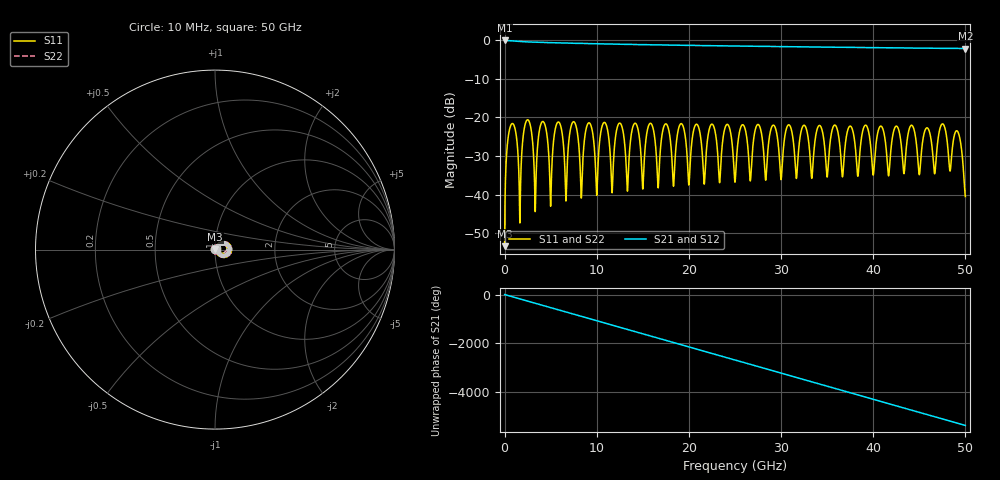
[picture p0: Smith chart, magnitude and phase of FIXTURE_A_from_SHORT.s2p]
! Fixture A extrait de SHORT (modele a une discontinuite, afr/reflect.py) - Fixture A synthetique : ligne Zc=55.0 ohm, delai=300 ps, pertes 1.0 dB @10 GHz (~sqrt(f)), eps_r_eff=3.0 -> 51.93 mm, Z0=50 ohm
! Frequency(Hz) S11 S21 S12 S22 (Re Im)
# Hz S RI R 50
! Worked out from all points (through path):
!   5000 points, 10 MHz to 50 GHz, reference 50 ohm
!   highest |S21| = -0.17 dB at 10 MHz (marker M1); lowest = -2.3 dB at 50 GHz (marker M2)
!   group delay of S21, straight-line fit = 300 ps
!   lowest |S11| = -53.3 dB at 10 MHz (marker M3), VSWR 1.00, Z = 50.2 + j0.149 ohm
!   |S11| at or under -10 dB: start of sweep to end of sweep
!   |S22| runs from -53.3 to -20.7 dB; largest |S21 - S12| = 0
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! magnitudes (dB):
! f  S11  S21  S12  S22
! 10 MHz  -53.3  -0.2  -0.2  -53.3
! 810 MHz  -21.7  -0.3  -0.3  -21.7
! 1.65 GHz  -45.9  -0.4  -0.4  -45.9
! 2.5 GHz  -20.7  -0.5  -0.5  -20.7
! 3.32 GHz  -43.9  -0.6  -0.6  -43.9
! 4.15 GHz  -21.1  -0.7  -0.7  -21.1
! 4.98 GHz  -42.2  -0.7  -0.7  -42.2
! 5.83 GHz  -21.2  -0.8  -0.8  -21.2
! 8.35 GHz  -40.5  -0.9  -0.9  -40.5
! 9.16 GHz  -21.4  -1.0  -1.0  -21.4
! 9.99 GHz  -40.1  -1.0  -1.0  -40.1
! 10.83 GHz  -21.3  -1.1  -1.1  -21.3
! 11.65 GHz  -39.3  -1.1  -1.1  -39.3
! 12.49 GHz  -21.5  -1.2  -1.2  -21.5
! 16.68 GHz  -38.1  -1.3  -1.3  -38.1
! 17.5 GHz  -21.7  -1.4  -1.4  -21.7
! 25.01 GHz  -36.8  -1.6  -1.6  -36.8
! 25.83 GHz  -21.9  -1.6  -1.6  -21.9
! 33.34 GHz  -35.8  -1.8  -1.8  -35.8
! 41.67 GHz  -35.2  -2.1  -2.1  -35.2
! 47.54 GHz  -21.7  -2.2  -2.2  -21.7
! 50 GHz  -40.5  -2.3  -2.3  -40.5
